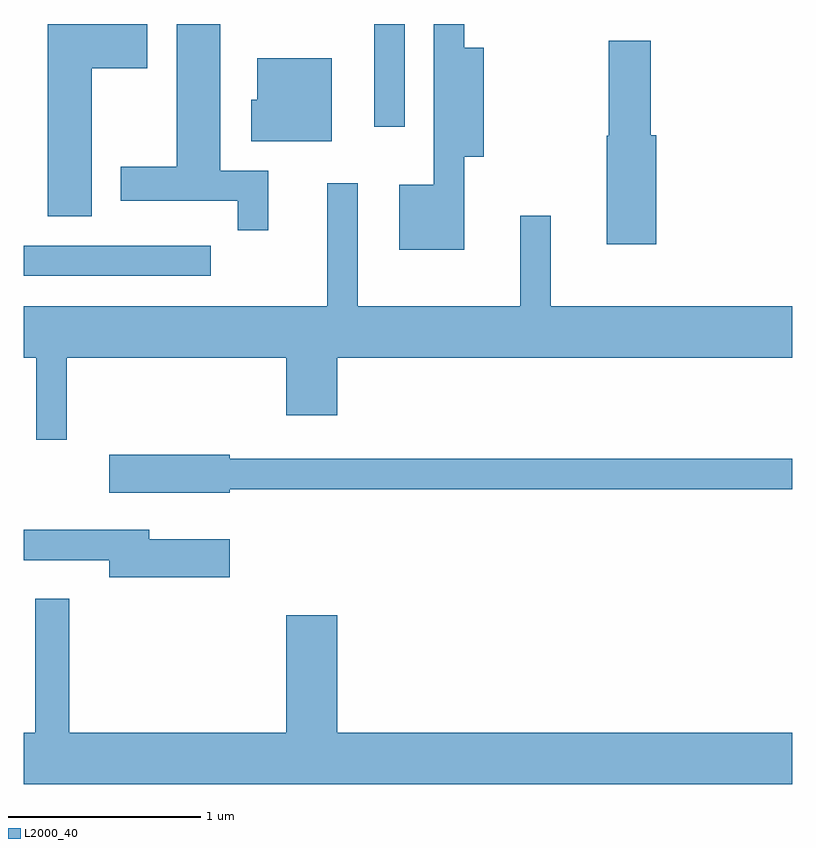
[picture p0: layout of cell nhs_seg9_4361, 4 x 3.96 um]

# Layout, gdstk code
import gdstk
lib = gdstk.Library(unit=1e-6, precision=1e-09)
def R(c, l, rs):  # rectangles x0, y0, x1, y1
    for r in rs: c.add(gdstk.rectangle(r[:2], r[2:], *l))
def P(c, l, *ps):  # polygons
    for p in ps: c.add(gdstk.Polygon(p, *l))
L2000_40 = (2000, 40)

nhs_seg9_4361 = lib.new_cell('nhs_seg9_4361')
R(nhs_seg9_4361, L2000_40, [(313.611,2001.121,314.583,2001.279), (315.436,2001.898,315.594,2002.432)])
P(nhs_seg9_4361, L2000_40, [(315.904,2001.741),(316.004,2001.741),(316.004,2002.309),(315.904,2002.309),(315.904,2002.432),(315.746,2002.432),(315.746,2001.594),(315.566,2001.594),(315.566,2001.256),(315.904,2001.256)],
  [(314.884,2001.669),(314.634,2001.669),(314.634,2002.432),(314.406,2002.432),(314.406,2001.689),(314.116,2001.689),(314.116,2001.511),(314.726,2001.511),(314.726,2001.358),(314.884,2001.358)],
  [(313.964,2002.201),(314.254,2002.201),(314.254,2002.432),(313.736,2002.432),(313.736,2001.431),(313.964,2001.431)],
  [(316.904,2001.854),(316.874,2001.854),(316.874,2002.344),(316.656,2002.344),(316.656,2001.85),(316.646,2001.85),(316.646,2001.286),(316.904,2001.286)],
  [(315.214,2002.254),(314.826,2002.254),(314.826,2002.039),(314.796,2002.039),(314.796,2001.821),(315.214,2001.821)],
  [(313.834,2000.696),(314.976,2000.696),(314.976,2000.396),(315.244,2000.396),(315.244,2000.696),(317.611,2000.696),(317.611,2000.964),(316.354,2000.964),(316.354,2001.433),(316.196,2001.433),(316.196,2000.964),(315.349,2000.964),(315.349,2001.603),(315.191,2001.603),(315.191,2000.964),(313.611,2000.964),(313.611,2000.696),(313.676,2000.696),(313.676,2000.268),(313.834,2000.268)],
  [(314.684,2000.011),(317.611,2000.011),(317.611,2000.169),(314.684,2000.169),(314.684,2000.189),(314.056,2000.189),(314.056,1999.991),(314.684,1999.991)],
  [(314.684,1999.749),(314.264,1999.749),(314.264,1999.799),(313.611,1999.799),(313.611,1999.641),(314.056,1999.641),(314.056,1999.551),(314.684,1999.551)],
  [(317.611,1998.744),(315.244,1998.744),(315.244,1999.354),(314.976,1999.354),(314.976,1998.744),(313.849,1998.744),(313.849,1999.439),(313.671,1999.439),(313.671,1998.744),(313.611,1998.744),(313.611,1998.476),(317.611,1998.476)])

lib.write_gds('nhs_seg9_4361.gds')
